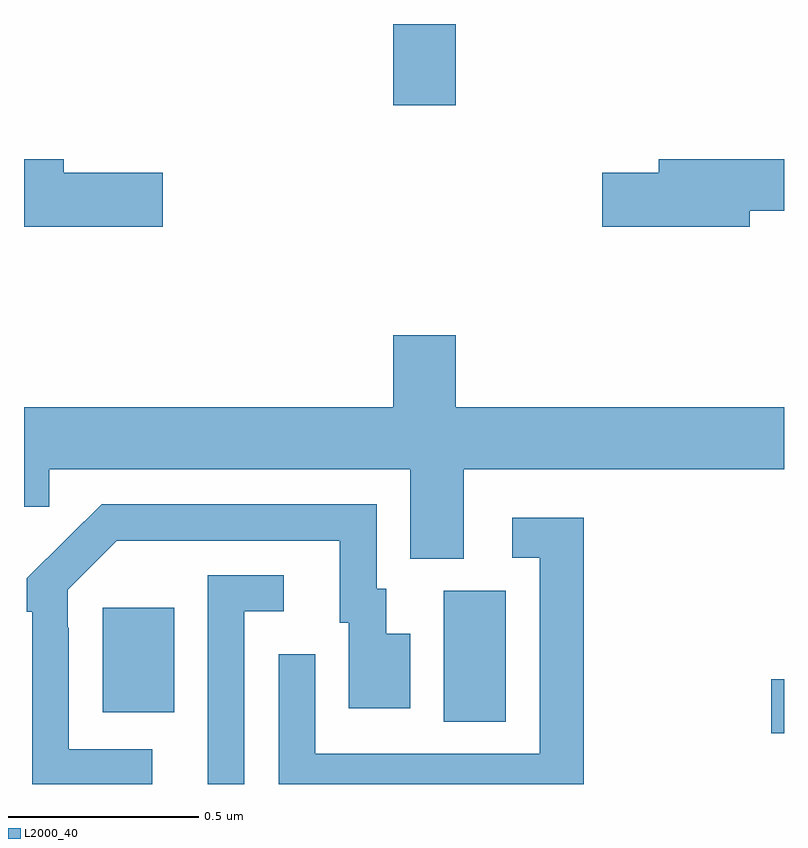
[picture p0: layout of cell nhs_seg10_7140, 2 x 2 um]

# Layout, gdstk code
import gdstk
lib = gdstk.Library(unit=1e-6, precision=1e-09)
def R(c, l, rs):  # rectangles x0, y0, x1, y1
    for r in rs: c.add(gdstk.rectangle(r[:2], r[2:], *l))
def P(c, l, *ps):  # polygons
    for p in ps: c.add(gdstk.Polygon(p, *l))
L2000_40 = (2000, 40)

nhs_seg10_7140 = lib.new_cell('nhs_seg10_7140')
R(nhs_seg10_7140, L2000_40, [(201.966,1287.634,202,1287.776), (201.104,1287.664,201.268,1288.008), (200.207,1287.689,200.395,1287.964), (200.972,1289.286,201.136,1289.5)])
P(nhs_seg10_7140, L2000_40, [(201.91,1289.008),(202,1289.008),(202,1289.144),(201.671,1289.144),(201.671,1289.108),(201.522,1289.108),(201.522,1288.966),(201.91,1288.966)],
  [(200.365,1289.108),(200.104,1289.108),(200.104,1289.144),(200,1289.144),(200,1288.966),(200.365,1288.966)],
  [(201.157,1288.328),(202,1288.328),(202,1288.492),(201.136,1288.492),(201.136,1288.681),(200.972,1288.681),(200.972,1288.492),(200,1288.492),(200,1288.23),(200.067,1288.23),(200.067,1288.328),(201.017,1288.328),(201.017,1288.093),(201.157,1288.093)],
  [(200.338,1287.591),(200.118,1287.591),(200.118,1287.911),(200.115,1287.911),(200.115,1288.011),(200.244,1288.14),(200.831,1288.14),(200.831,1287.924),(200.855,1287.924),(200.855,1287.699),(201.016,1287.699),(201.016,1287.895),(200.953,1287.895),(200.953,1288.014),(200.928,1288.014),(200.928,1288.236),(200.204,1288.236),(200.113,1288.145),(200.112,1288.146),(200.007,1288.041),(200.007,1287.953),(200.022,1287.953),(200.022,1287.5),(200.338,1287.5)],
  [(201.473,1288.201),(201.285,1288.201),(201.285,1288.095),(201.357,1288.095),(201.357,1287.579),(200.766,1287.579),(200.766,1287.841),(200.67,1287.841),(200.67,1287.586),(200.671,1287.586),(200.671,1287.5),(201.473,1287.5)],
  [(200.58,1287.954),(200.683,1287.954),(200.683,1288.05),(200.484,1288.05),(200.484,1287.593),(200.483,1287.593),(200.483,1287.5),(200.58,1287.5)])

lib.write_gds('nhs_seg10_7140.gds')
